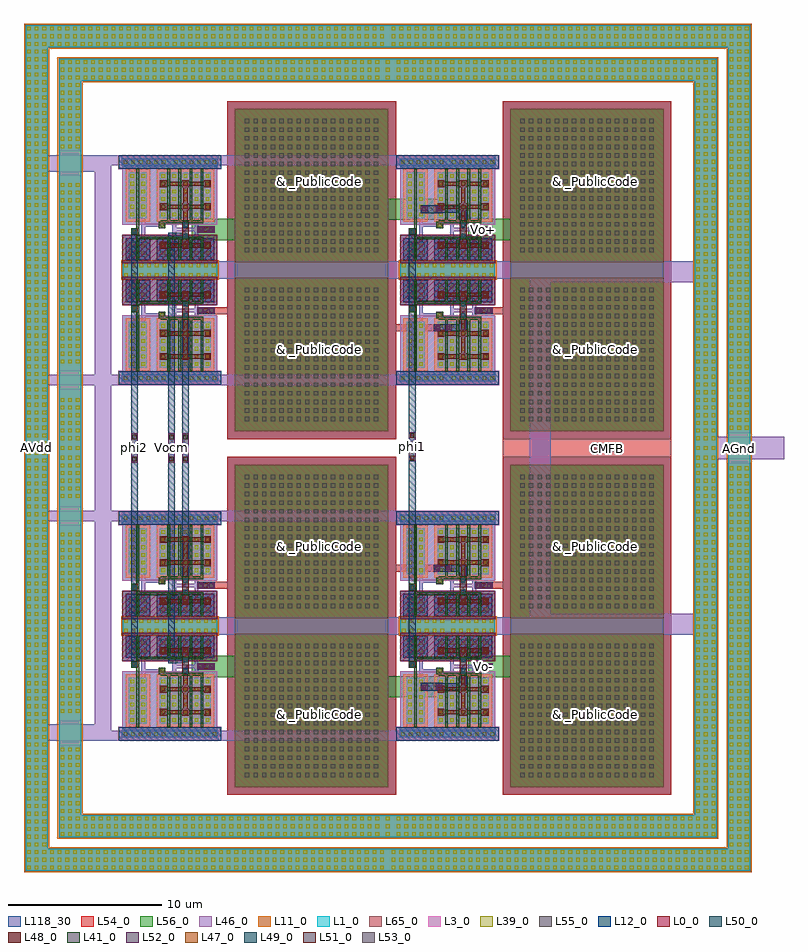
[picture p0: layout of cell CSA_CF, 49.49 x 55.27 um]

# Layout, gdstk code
import gdstk
lib = gdstk.Library(unit=1e-6, precision=1e-09)
def R(c, l, rs):  # rectangles x0, y0, x1, y1
    for r in rs: c.add(gdstk.rectangle(r[:2], r[2:], *l))
def A(c, l, x, y, w, h, nx, ny, dx, dy):  # array of equal rectangles
    R(c, l, [(x+i*dx, y+j*dy, x+i*dx+w, y+j*dy+h) for i in range(nx) for j in range(ny)])
def P(c, l, *ps):  # polygons
    for p in ps: c.add(gdstk.Polygon(p, *l))
L0_0 = (0, 0)
L1_0 = (1, 0)
L3_0 = (3, 0)
L11_0 = (11, 0)
L12_0 = (12, 0)
L39_0 = (39, 0)
L41_0 = (41, 0)
L46_0 = (46, 0)
L47_0 = (47, 0)
L48_0 = (48, 0)
L49_0 = (49, 0)
L50_0 = (50, 0)
L51_0 = (51, 0)
L52_0 = (52, 0)
L53_0 = (53, 0)
L54_0 = (54, 0)
L55_0 = (55, 0)
L56_0 = (56, 0)
L65_0 = (65, 0)
L118_30 = (118, 30)

m1m2 = lib.new_cell('M1M2')
R(m1m2, L46_0, [(-0.22,-0.22,0.22,0.22)])
R(m1m2, L47_0, [(-0.14,-0.14,0.14,0.14)])
R(m1m2, L48_0, [(-0.22,-0.22,0.22,0.22)])

mpoly = lib.new_cell('MPOLY')
R(mpoly, L39_0, [(-0.12,-0.12,0.12,0.12)])
R(mpoly, L41_0, [(-0.22,-0.22,0.22,0.22)])
R(mpoly, L46_0, [(-0.2,-0.2,0.2,0.2)])

m2m3 = lib.new_cell('M2M3')
R(m2m3, L48_0, [(-0.22,-0.22,0.22,0.22)])
R(m2m3, L49_0, [(-0.14,-0.14,0.14,0.14)])
R(m2m3, L50_0, [(-0.22,-0.22,0.22,0.22)])

switch_x4 = lib.new_cell('switch_X4')
R(switch_x4, L0_0, [(-0.46,-1.87,1.56,-0.01), (1.56,-1.87,5.74,-0.01)])
R(switch_x4, L1_0, [(-0.44,-2.2,5.72,-1.76), (-0.03,-1.44,1.13,-0.44), (-0.03,-1.44,0.46,-0.44), (0.64,-1.44,1.13,-0.44), (1.99,-1.44,2.48,-0.44), (1.99,-1.44,5.31,-0.44), (4.82,-1.44,5.31,-0.44), (-0.03,1.07,0.46,4.07), (-0.03,1.07,1.13,4.07), (0.64,1.07,1.13,4.07), (1.99,1.07,5.31,4.07), (1.99,1.07,2.48,4.07), (4.82,1.07,5.31,4.07), (-0.48,4.51,5.76,4.95)])
R(switch_x4, L3_0, [(-0.46,0.64,1.56,4.5), (1.56,0.64,5.74,4.5), (-0.72,4.27,6,5.19)])
R(switch_x4, L11_0, [(-0.54,-2.3,5.82,-1.66), (-0.25,0.85,1.35,4.29), (1.77,0.85,5.53,4.29)])
R(switch_x4, L12_0, [(-0.25,-1.66,1.35,-0.22), (1.77,-1.66,5.53,-0.22), (-0.7,4.29,5.98,5.17)])
A(switch_x4, L39_0, -0.34, -2.1, 0.24, 0.24, 6, 1, 0.5, 0)
A(switch_x4, L39_0, 2.88, -2.1, 0.24, 0.24, 6, 1, 0.5, 0)
A(switch_x4, L39_0, 2.09, -1.31, 0.24, 0.24, 5, 2, 0.72, 0.5)
A(switch_x4, L39_0, 0.07, 1.2, 0.24, 0.24, 1, 6, 0, 0.5)
A(switch_x4, L39_0, 0.79, 1.2, 0.24, 0.24, 1, 6, 0, 0.5)
A(switch_x4, L39_0, 2.09, 1.2, 0.24, 0.24, 5, 6, 0.72, 0.5)
A(switch_x4, L39_0, -0.38, 4.61, 0.24, 0.24, 6, 1, 0.5, 0)
A(switch_x4, L39_0, 2.92, 4.61, 0.24, 0.24, 6, 1, 0.5, 0)
R(switch_x4, L39_0, [(0.07,-1.31,0.31,-1.07), (0.79,-1.31,1.03,-1.07), (0.07,-0.81,0.31,-0.57), (0.79,-0.81,1.03,-0.57)])
A(switch_x4, L41_0, 2.48, -1.66, 0.18, 0.22, 4, 2, 0.72, 1.22)
A(switch_x4, L41_0, 2.48, -1.44, 0.18, 1, 4, 1, 0.72, 0)
A(switch_x4, L41_0, 2.48, 0.85, 0.18, 0.22, 4, 2, 0.72, 3.22)
A(switch_x4, L41_0, 2.48, 1.07, 0.18, 3, 4, 1, 0.72, 0)
R(switch_x4, L41_0, [(0.46,-1.66,0.64,-1.44), (0.46,-1.44,0.64,-0.44), (0.46,-0.44,0.64,-0.22), (0.46,-0.4,0.64,-0.12), (0.46,-0.3,2.66,-0.12), (0.46,-0.3,0.64,1.03), (0.46,0.85,0.64,1.07), (0.46,1.07,0.64,4.07), (0.46,4.07,0.64,4.29)])
P(switch_x4, L41_0, [(3.92,-0.3),(4.64,-0.3),(4.64,-0.4),(4.82,-0.4),(4.82,-0.12),(3.92,-0.12)],
  [(2.48,0.75),(3.38,0.75),(3.38,1.03),(3.2,1.03),(3.2,0.93),(2.66,0.93),(2.66,1.03),(2.48,1.03)],
  [(3.2,0.75),(4.1,0.75),(4.1,1.03),(3.92,1.03),(3.92,0.93),(3.2,0.93)],
  [(3.92,0.75),(4.82,0.75),(4.82,1.03),(4.64,1.03),(4.64,0.93),(3.92,0.93)],
  [(2.48,-0.4),(2.66,-0.4),(2.66,-0.3),(3.2,-0.3),(3.2,-0.4),(3.38,-0.4),(3.38,-0.12),(2.48,-0.12)],
  [(3.2,-0.3),(3.92,-0.3),(3.92,-0.4),(4.1,-0.4),(4.1,-0.12),(3.2,-0.12)],
  [(2.03,0.54),(2.24,0.54),(2.24,0.75),(2.66,0.75),(2.66,0.93),(2.06,0.93),(2.06,0.72),(2.03,0.72)])
A(switch_x4, L46_0, 2.01, -1.39, 0.4, 0.9, 5, 1, 0.72, 0)
A(switch_x4, L46_0, 2.01, 1.12, 0.4, 2.9, 5, 1, 0.72, 0)
R(switch_x4, L46_0, [(-0.46,-2.3,5.74,-1.74), (-0.46,-2.22,5.74,-1.74), (-0.01,-2.14,0.39,-0.99), (-0.01,-1.39,0.39,-0.49), (0.71,-1.39,1.11,-0.49), (0.79,-0.73,1.03,0.75), (2.81,-0.73,3.05,0.46), (4.25,-0.73,4.49,0.46), (2.81,0.22,3.05,1.36), (2.81,0.22,4.49,0.46), (4.25,0.22,4.75,0.46), (4.25,0.22,4.49,1.36), (0.79,0.51,2.24,0.75), (0.79,0.51,1.03,1.36), (-0.01,1.12,0.39,4.02), (0.71,1.12,1.11,4.02), (-0.01,3.62,0.39,4.93), (-0.46,4.53,5.74,4.93), (-0.46,4.53,5.74,5.19)])
R(switch_x4, L48_0, [(2.07,-0.83,3.79,-0.55), (3.51,-0.83,5.23,-0.55), (3.51,-0.83,3.79,1.96), (3.43,-0.47,3.51,-0.3), (3.79,-0.47,3.87,-0.3), (3.43,0.14,3.87,0.42), (4.49,0.2,5.49,0.48), (2.07,1.68,3.79,1.96), (3.51,1.68,5.23,1.96), (3.51,1.68,3.79,3.46), (2.07,3.18,3.79,3.46), (3.51,3.18,5.23,3.46)])
R(switch_x4, L50_0, [(3.43,-0.3,3.87,0.86), (0.11,-0.01,0.55,0.43), (4.41,0.12,5.57,0.56)])
R(switch_x4, L118_30, [(-0.46,-1.87,1.56,-0.01), (1.56,-1.87,5.74,-0.01), (-0.46,0.64,1.56,4.5), (1.56,0.64,5.74,4.5)])
switch_x4.add(gdstk.Reference(m1m2, (3.65,1.82)))
switch_x4.add(gdstk.Reference(m1m2, (2.21,1.82)))
switch_x4.add(gdstk.Reference(m1m2, (5.09,1.82)))
switch_x4.add(gdstk.Reference(m1m2, (3.65,3.32)))
switch_x4.add(gdstk.Reference(mpoly, (2.12,0.63)))
switch_x4.add(gdstk.Reference(m1m2, (2.21,-0.69)))
switch_x4.add(gdstk.Reference(m1m2, (3.65,-0.69)))
switch_x4.add(gdstk.Reference(m1m2, (5.09,-0.69)))
switch_x4.add(gdstk.Reference(m1m2, (2.21,3.32)))
switch_x4.add(gdstk.Reference(m1m2, (5.09,3.32)))
switch_x4.add(gdstk.Reference(mpoly, (0.33,0.21)))
switch_x4.add(gdstk.Reference(m2m3, (0.33,0.21)))
switch_x4.add(gdstk.Reference(m1m2, (0.33,0.21)))
switch_x4.add(gdstk.Reference(m2m3, (3.65,0.64)))
switch_x4.add(gdstk.Reference(m2m3, (3.65,-0.08)))
switch_x4.add(gdstk.Reference(m1m2, (4.63,0.34)))
switch_x4.add(gdstk.Reference(m2m3, (4.63,0.34)))
switch_x4.add(gdstk.Reference(m2m3, (5.35,0.34)))
switch_x4.add(gdstk.Label('/M12', (2.57,2.57), layer=85, texttype=0))
switch_x4.add(gdstk.Label('/M12', (3.29,2.57), layer=85, texttype=0))
switch_x4.add(gdstk.Label('/M12', (4.01,2.57), layer=85, texttype=0))
switch_x4.add(gdstk.Label('/M12', (4.73,2.57), layer=85, texttype=0))
switch_x4.add(gdstk.Label('& Vendor Mentor', (1.99,1.07), layer=63, texttype=63))
switch_x4.add(gdstk.Label('& Product UMC180FDKMFM', (1.99,1.07), layer=63, texttype=63))
switch_x4.add(gdstk.Label('& Version A01', (1.99,1.07), layer=63, texttype=63))
switch_x4.add(gdstk.Label('& Metric 0', (1.99,1.07), layer=63, texttype=63))
switch_x4.add(gdstk.Label('& _PublicCode', (1.99,1.07), layer=63, texttype=63))
switch_x4.add(gdstk.Label('/M2', (0.55,2.57), layer=85, texttype=0))
switch_x4.add(gdstk.Label('& Vendor Mentor', (-0.03,1.07), layer=63, texttype=63))
switch_x4.add(gdstk.Label('& Product UMC180FDKMFM', (-0.03,1.07), layer=63, texttype=63))
switch_x4.add(gdstk.Label('& Version A01', (-0.03,1.07), layer=63, texttype=63))
switch_x4.add(gdstk.Label('& Metric 0', (-0.03,1.07), layer=63, texttype=63))
switch_x4.add(gdstk.Label('& _PublicCode', (-0.03,1.07), layer=63, texttype=63))
switch_x4.add(gdstk.Label('& _PublicCode', (-0.03,-1.44), layer=63, texttype=63))
switch_x4.add(gdstk.Label('/M1', (0.55,-0.94), layer=85, texttype=0))
switch_x4.add(gdstk.Label('& Vendor Mentor', (-0.03,-1.44), layer=63, texttype=63))
switch_x4.add(gdstk.Label('& Product UMC180FDKMFM', (-0.03,-1.44), layer=63, texttype=63))
switch_x4.add(gdstk.Label('& Version A01', (-0.03,-1.44), layer=63, texttype=63))
switch_x4.add(gdstk.Label('& Metric 0', (-0.03,-1.44), layer=63, texttype=63))
switch_x4.add(gdstk.Label('/M11', (2.57,-0.94), layer=85, texttype=0))
switch_x4.add(gdstk.Label('/M11', (3.29,-0.94), layer=85, texttype=0))
switch_x4.add(gdstk.Label('/M11', (4.01,-0.94), layer=85, texttype=0))
switch_x4.add(gdstk.Label('/M11', (4.73,-0.94), layer=85, texttype=0))
switch_x4.add(gdstk.Label('& Vendor Mentor', (1.99,-1.44), layer=63, texttype=63))
switch_x4.add(gdstk.Label('& Product UMC180FDKMFM', (1.99,-1.44), layer=63, texttype=63))
switch_x4.add(gdstk.Label('& Version A01', (1.99,-1.44), layer=63, texttype=63))
switch_x4.add(gdstk.Label('& Metric 0', (1.99,-1.44), layer=63, texttype=63))
switch_x4.add(gdstk.Label('& _PublicCode', (1.99,-1.44), layer=63, texttype=63))
switch_x4.add(gdstk.Label('VSS', (2.64,-2.02), layer=101, texttype=0))
switch_x4.add(gdstk.Label('VDD', (2.64,4.86), layer=101, texttype=0))
switch_x4.add(gdstk.Label('e', (0.33,0.21), layer=103, texttype=0))
switch_x4.add(gdstk.Label('out', (4.99,0.34), layer=103, texttype=0))
switch_x4.add(gdstk.Label('in', (3.65,0.28), layer=103, texttype=0))

m3m4 = lib.new_cell('M3M4')
R(m3m4, L50_0, [(-0.22,-0.22,0.22,0.22)])
R(m3m4, L51_0, [(-0.14,-0.14,0.14,0.14)])
R(m3m4, L52_0, [(-0.22,-0.22,0.22,0.22)])

m4m5 = lib.new_cell('M4M5')
R(m4m5, L52_0, [(-0.22,-0.22,0.22,0.22)])
R(m4m5, L53_0, [(-0.14,-0.14,0.14,0.14)])
R(m4m5, L54_0, [(-0.22,-0.22,0.22,0.22)])

m5m6 = lib.new_cell('M5M6')
R(m5m6, L54_0, [(-0.22,-0.22,0.22,0.22)])
R(m5m6, L55_0, [(-0.14,-0.14,0.14,0.14)])
R(m5m6, L56_0, [(-0.26,-0.26,0.26,0.26)])

csa_cf = lib.new_cell('CSA_CF')
R(csa_cf, L1_0, [(-5.32,1.47,0.84,1.67), (12.77,1.47,18.93,1.67), (-5.32,24.64,0.84,24.84), (12.77,24.64,18.93,24.84)])
P(csa_cf, L1_0, [(33.37,-12.2),(33.37,37.07),(31.93,37.07),(31.93,-10.76),(-8.02,-10.76),(-8.02,37.07),(33.37,37.07),(33.37,38.51),(-9.46,38.51),(-9.46,-12.2)],
  [(35.55,-14.38),(35.55,39.25),(34.11,39.25),(34.11,-12.94),(-10.2,-12.94),(-10.2,39.25),(35.55,39.25),(35.55,40.69),(-11.64,40.69),(-11.64,-14.38)])
P(csa_cf, L11_0, [(33.47,-12.3),(33.47,36.97),(31.83,36.97),(31.83,-10.66),(-7.92,-10.66),(-7.92,36.97),(33.47,36.97),(33.47,38.61),(-9.56,38.61),(-9.56,-12.3)],
  [(35.65,-14.48),(35.65,39.15),(34.01,39.15),(34.01,-12.84),(-10.1,-12.84),(-10.1,39.15),(35.65,39.15),(35.65,40.79),(-11.74,40.79),(-11.74,-14.48)])
A(csa_cf, L39_0, -11.54, -14.28, 0.24, 0.24, 47, 3, 0.5, 0.5)
A(csa_cf, L39_0, 12.21, -14.28, 0.24, 0.24, 47, 3, 0.5, 0.5)
A(csa_cf, L39_0, -11.54, -12.78, 0.24, 0.24, 3, 52, 0.5, 0.5)
A(csa_cf, L39_0, 34.21, -12.78, 0.24, 0.24, 3, 50, 0.5, 0.5)
A(csa_cf, L39_0, -9.36, -12.1, 0.24, 0.24, 42, 3, 0.5, 0.5)
A(csa_cf, L39_0, 11.83, -12.1, 0.24, 0.24, 1, 3, 0, 0.5)
A(csa_cf, L39_0, 12.53, -12.1, 0.24, 0.24, 42, 3, 0.5, 0.5)
A(csa_cf, L39_0, -9.36, -10.6, 0.24, 0.24, 3, 9, 0.5, 0.5)
A(csa_cf, L39_0, 32.03, -10.6, 0.24, 0.24, 3, 47, 0.5, 0.5)
A(csa_cf, L39_0, -9.36, -4.1, 0.24, 0.24, 3, 24, 0.5, 0.5)
A(csa_cf, L39_0, -9.36, 9.9, 0.24, 0.24, 3, 6, 0.5, 0.5)
A(csa_cf, L39_0, -9.36, 13.03, 0.24, 0.24, 3, 2, 0.5, 0.64)
A(csa_cf, L39_0, 32.03, 13.03, 0.24, 0.24, 3, 2, 0.5, 0.64)
A(csa_cf, L39_0, -11.54, 13.35, 0.24, 0.24, 3, 52, 0.5, 0.5)
A(csa_cf, L39_0, -9.36, 14.17, 0.24, 0.24, 3, 5, 0.5, 0.5)
A(csa_cf, L39_0, 32.03, 14.17, 0.24, 0.24, 3, 46, 0.5, 0.5)
A(csa_cf, L39_0, 34.21, 14.35, 0.24, 0.24, 3, 50, 0.5, 0.5)
A(csa_cf, L39_0, -9.36, 18.67, 0.24, 0.24, 3, 24, 0.5, 0.5)
A(csa_cf, L39_0, -9.36, 32.67, 0.24, 0.24, 3, 9, 0.5, 0.5)
A(csa_cf, L39_0, -9.36, 37.17, 0.24, 0.24, 42, 3, 0.5, 0.5)
A(csa_cf, L39_0, 11.83, 37.17, 0.24, 0.24, 1, 3, 0, 0.5)
A(csa_cf, L39_0, 12.53, 37.17, 0.24, 0.24, 42, 3, 0.5, 0.5)
A(csa_cf, L39_0, -11.54, 39.35, 0.24, 0.24, 47, 3, 0.5, 0.5)
A(csa_cf, L39_0, 12.21, 39.35, 0.24, 0.24, 47, 3, 0.5, 0.5)
R(csa_cf, L46_0, [(-11.66,-14.4,-10.18,40.71), (-11.35,-5.92,-6.06,-4.84), (0.86,-5.92,12.75,-5.26), (-9.48,-4.6,-8,8.16), (-5.34,1.01,18.95,2.13), (0.86,1.01,12.75,2.13), (21.2,1.01,33.27,2.37), (-10.92,8.4,-6.47,9.06), (-6.72,8.4,-4.68,9.06), (0.86,8.4,12.75,9.06), (-9.48,9.3,-8,17.01), (31.91,12.41,37.75,13.89), (-10.84,17.25,-6.47,17.91), (-6.72,17.25,-4.68,17.91), (0.86,17.25,12.75,17.91), (-9.48,18.15,-8,30.91), (21.2,23.94,33.22,25.3), (-5.34,24.18,18.95,25.3), (0.86,24.18,12.75,25.3), (-11.26,31.15,-6.06,32.23), (0.86,31.57,12.75,32.23)])
P(csa_cf, L46_0, [(33.39,-12.22),(33.39,38.53),(-9.48,38.53),(-9.48,32.47),(-8,32.47),(-8,37.05),(31.91,37.05),(31.91,-10.74),(-8,-10.74),(-8,-6.16),(-9.48,-6.16),(-9.48,-12.22)],
  [(35.57,-14.4),(35.57,12.17),(34.09,12.17),(34.09,-12.92),(-10.18,-12.92),(-10.18,39.23),(34.09,39.23),(34.09,14.13),(35.57,14.13),(35.57,40.71),(-11.66,40.71),(-11.66,-14.4)],
  [(18.39,1.01),(22.56,1.01),(22.56,25.3),(18.39,25.3),(18.39,24.18),(21.2,24.18),(21.2,2.13),(18.39,2.13)],
  [(-7.13,-5.92),(-4.68,-5.92),(-4.68,-5.26),(-6.06,-5.26),(-6.06,31.57),(-4.68,31.57),(-4.68,32.23),(-7.13,32.23)])
R(csa_cf, L50_0, [(14.1,-2.66,15.5,-2.14), (-4.77,-1.16,-4.33,4.3), (13.32,-1.16,13.76,4.3), (-4.77,3.86,-4.33,27.47), (13.32,3.86,13.76,27.47), (-1.45,4.29,-1.01,22.02), (14.93,5.1,16.11,5.54), (14.93,20.77,16.11,21.21), (14.1,28.45,15.5,28.97)])
P(csa_cf, L50_0, [(-2.36,-0.87),(-1.01,-0.87),(-1.01,-0.43),(-1.92,-0.43),(-1.92,26.74),(-1.01,26.74),(-1.01,27.18),(-2.36,27.18)],
  [(15.06,28.49),(16.64,28.49),(16.64,27.46),(17.08,27.46),(17.08,28.93),(15.06,28.93)],
  [(15.67,20.77),(17.08,20.77),(17.08,22.02),(16.64,22.02),(16.64,21.21),(15.67,21.21)],
  [(15.06,-2.62),(17.08,-2.62),(17.08,-1.15),(16.64,-1.15),(16.64,-2.18),(15.06,-2.18)],
  [(15.67,5.1),(16.64,5.1),(16.64,4.29),(17.08,4.29),(17.08,5.54),(15.67,5.54)])
R(csa_cf, L52_0, [(-0.47,-1.29,0.69,-0.85), (17.62,-1.29,18.78,-0.85), (-0.47,3.99,0.69,4.43), (17.62,3.99,18.78,4.43), (-4.77,12.21,-4.33,14.1), (-2.36,12.21,-1.92,14.1), (-1.45,12.21,-1.01,14.1), (13.32,12.29,13.76,14.18), (25.29,12.93,27.17,13.37), (-0.47,21.88,0.69,22.32), (17.62,21.88,18.78,22.32), (-0.47,27.16,0.69,27.6), (17.62,27.16,18.78,27.6)])
R(csa_cf, L54_0, [(1.49,-9.43,12.49,1.57), (1.49,-9.43,12.49,1.57), (19.42,-9.43,30.42,1.57), (19.42,-9.43,30.42,1.57), (-0.47,-1.29,0.69,-0.85), (17.62,-1.29,18.78,-0.85), (1.49,1.57,12.49,12.57), (1.49,1.57,12.49,12.57), (19.42,1.57,30.42,12.57), (19.42,1.57,30.42,12.57), (-0.47,3.99,0.69,4.43), (0.25,3.99,1.93,4.43), (17.62,3.99,18.78,4.43), (18.34,3.99,19.86,4.43), (12.05,5.1,15.37,5.54), (14.93,5.1,16.11,5.54), (19.42,12.57,30.42,13.74), (1.49,13.74,12.49,24.74), (1.49,13.74,12.49,24.74), (19.42,13.74,30.42,24.74), (19.42,13.74,30.42,24.74), (12.05,20.77,15.37,21.21), (14.93,20.77,16.11,21.21), (-0.47,21.88,0.69,22.32), (0.25,21.88,1.93,22.32), (17.62,21.88,18.78,22.32), (18.34,21.88,19.86,22.32), (1.49,24.74,12.49,35.74), (1.49,24.74,12.49,35.74), (19.42,24.74,30.42,35.74), (19.42,24.74,30.42,35.74), (-0.47,27.16,0.69,27.6), (17.62,27.16,18.78,27.6)])
A(csa_cf, L55_0, 2.65, -8.27, 0.28, 0.28, 16, 16, 0.56, 0.56)
A(csa_cf, L55_0, 20.58, -8.27, 0.28, 0.28, 16, 16, 0.56, 0.56)
A(csa_cf, L55_0, 2.65, 2.73, 0.28, 0.28, 16, 16, 0.56, 0.56)
A(csa_cf, L55_0, 20.58, 2.73, 0.28, 0.28, 16, 16, 0.56, 0.56)
A(csa_cf, L55_0, 2.65, 14.9, 0.28, 0.28, 16, 16, 0.56, 0.56)
A(csa_cf, L55_0, 20.58, 14.9, 0.28, 0.28, 16, 16, 0.56, 0.56)
A(csa_cf, L55_0, 2.65, 25.9, 0.28, 0.28, 16, 16, 0.56, 0.56)
A(csa_cf, L55_0, 20.58, 25.9, 0.28, 0.28, 16, 16, 0.56, 0.56)
R(csa_cf, L56_0, [(1.99,-8.93,11.99,1.07), (19.92,-8.93,29.92,1.07), (2.49,-8.43,11.49,0.57), (20.42,-8.43,29.42,0.57), (11.95,-3.09,15.96,-1.7), (-0.83,-1.77,2.12,-0.38), (17.19,-1.76,20.14,-0.37), (1.99,1.07,11.99,2.07), (19.92,1.07,29.92,2.07), (1.99,2.07,11.99,12.07), (19.92,2.07,29.92,12.07), (2.49,2.57,11.49,11.57), (20.42,2.57,29.42,11.57), (1.99,14.24,11.99,24.24), (19.92,14.24,29.92,24.24), (2.49,14.74,11.49,23.74), (20.42,14.74,29.42,23.74), (1.99,24.24,11.99,25.24), (19.92,24.24,29.92,25.24), (1.99,25.24,11.99,35.24), (19.92,25.24,29.92,35.24), (2.49,25.74,11.49,34.74), (20.42,25.74,29.42,34.74), (17.19,26.68,20.14,28.07), (-0.83,26.69,2.12,28.08), (11.95,28.01,15.96,29.4)])
R(csa_cf, L65_0, [(1.99,-8.93,11.99,1.07), (19.92,-8.93,29.92,1.07), (1.99,2.07,11.99,12.07), (19.92,2.07,29.92,12.07), (1.99,14.24,11.99,24.24), (19.92,14.24,29.92,24.24), (1.99,25.24,11.99,35.24), (19.92,25.24,29.92,35.24)])
R(csa_cf, L118_30, [(1.49,-9.43,12.49,1.57), (1.49,-9.43,12.49,1.57), (19.42,-9.43,30.42,1.57), (19.42,-9.43,30.42,1.57), (1.49,1.57,12.49,12.57), (1.49,1.57,12.49,12.57), (19.42,1.57,30.42,12.57), (19.42,1.57,30.42,12.57), (1.49,13.74,12.49,24.74), (1.49,13.74,12.49,24.74), (19.42,13.74,30.42,24.74), (19.42,13.74,30.42,24.74), (1.49,24.74,12.49,35.74), (1.49,24.74,12.49,35.74), (19.42,24.74,30.42,35.74), (19.42,24.74,30.42,35.74)])
csa_cf.add(gdstk.Reference(switch_x4, (13.21,-0.73), x_reflection=True))
csa_cf.add(gdstk.Reference(switch_x4, (-4.88,3.87)))
csa_cf.add(gdstk.Reference(switch_x4, (-4.88,-0.73), x_reflection=True))
csa_cf.add(gdstk.Reference(switch_x4, (13.21,3.87)))
csa_cf.add(gdstk.Reference(switch_x4, (13.21,22.44), x_reflection=True))
csa_cf.add(gdstk.Reference(switch_x4, (13.21,27.04)))
csa_cf.add(gdstk.Reference(switch_x4, (-4.88,22.44), x_reflection=True))
csa_cf.add(gdstk.Reference(switch_x4, (-4.88,27.04)))
csa_cf.add(gdstk.Reference(m3m4, (13.54,13.24)))
csa_cf.add(gdstk.Reference(m3m4, (13.54,13.96)))
csa_cf.add(gdstk.Reference(m3m4, (13.54,12.51)))
csa_cf.add(gdstk.Reference(m3m4, (-4.55,12.43)))
csa_cf.add(gdstk.Reference(m3m4, (-4.55,13.16)))
csa_cf.add(gdstk.Reference(m3m4, (-4.55,13.88)))
csa_cf.add(gdstk.Reference(m4m5, (25.51,13.15)))
csa_cf.add(gdstk.Reference(m4m5, (26.23,13.15)))
csa_cf.add(gdstk.Reference(m4m5, (26.95,13.15)))
csa_cf.add(gdstk.Reference(m3m4, (-1.23,12.43)))
csa_cf.add(gdstk.Reference(m3m4, (-1.23,13.16)))
csa_cf.add(gdstk.Reference(m3m4, (-1.23,13.88)))
csa_cf.add(gdstk.Reference(m3m4, (-2.14,12.43)))
csa_cf.add(gdstk.Reference(m3m4, (-2.14,13.16)))
csa_cf.add(gdstk.Reference(m3m4, (-2.14,13.88)))
csa_cf.add(gdstk.Reference(m5m6, (-0.25,-1.07), x_reflection=True))
csa_cf.add(gdstk.Reference(m5m6, (14.32,-2.4), x_reflection=True))
csa_cf.add(gdstk.Reference(m3m4, (15.89,5.32), x_reflection=True))
csa_cf.add(gdstk.Reference(m4m5, (-0.25,4.21), x_reflection=True))
csa_cf.add(gdstk.Reference(m3m4, (15.15,5.32), x_reflection=True))
csa_cf.add(gdstk.Reference(m4m5, (15.15,5.32), x_reflection=True))
csa_cf.add(gdstk.Reference(m3m4, (17.84,4.21), x_reflection=True))
csa_cf.add(gdstk.Reference(m5m6, (17.84,-1.07), x_reflection=True))
csa_cf.add(gdstk.Reference(m4m5, (17.84,4.21), x_reflection=True))
csa_cf.add(gdstk.Reference(m3m4, (-0.25,-1.07), x_reflection=True))
csa_cf.add(gdstk.Reference(m3m4, (0.47,-1.07), x_reflection=True))
csa_cf.add(gdstk.Reference(m4m5, (-0.25,-1.07), x_reflection=True))
csa_cf.add(gdstk.Reference(m4m5, (0.47,-1.07), x_reflection=True))
csa_cf.add(gdstk.Reference(m5m6, (0.47,-1.07), x_reflection=True))
csa_cf.add(gdstk.Reference(m4m5, (15.89,5.32), x_reflection=True))
csa_cf.add(gdstk.Reference(m3m4, (-0.25,4.21), x_reflection=True))
csa_cf.add(gdstk.Reference(m3m4, (0.47,4.21), x_reflection=True))
csa_cf.add(gdstk.Reference(m3m4, (18.56,4.21), x_reflection=True))
csa_cf.add(gdstk.Reference(m4m5, (0.47,4.21), x_reflection=True))
csa_cf.add(gdstk.Reference(m5m6, (15.28,-2.4), x_reflection=True))
csa_cf.add(gdstk.Reference(m3m4, (15.28,-2.4), x_reflection=True))
csa_cf.add(gdstk.Reference(m4m5, (18.56,4.21), x_reflection=True))
csa_cf.add(gdstk.Reference(m4m5, (15.28,-2.4), x_reflection=True))
csa_cf.add(gdstk.Reference(m3m4, (14.32,-2.4), x_reflection=True))
csa_cf.add(gdstk.Reference(m4m5, (14.32,-2.4), x_reflection=True))
csa_cf.add(gdstk.Reference(m3m4, (18.56,-1.07), x_reflection=True))
csa_cf.add(gdstk.Reference(m4m5, (18.56,-1.07), x_reflection=True))
csa_cf.add(gdstk.Reference(m5m6, (18.56,-1.07), x_reflection=True))
csa_cf.add(gdstk.Reference(m3m4, (17.84,-1.07), x_reflection=True))
csa_cf.add(gdstk.Reference(m4m5, (17.84,-1.07), x_reflection=True))
csa_cf.add(gdstk.Reference(m4m5, (14.32,28.71)))
csa_cf.add(gdstk.Reference(m3m4, (18.56,27.38)))
csa_cf.add(gdstk.Reference(m4m5, (18.56,27.38)))
csa_cf.add(gdstk.Reference(m5m6, (18.56,27.38)))
csa_cf.add(gdstk.Reference(m3m4, (17.84,27.38)))
csa_cf.add(gdstk.Reference(m4m5, (17.84,27.38)))
csa_cf.add(gdstk.Reference(m5m6, (14.32,28.71)))
csa_cf.add(gdstk.Reference(m3m4, (15.89,20.99)))
csa_cf.add(gdstk.Reference(m4m5, (15.89,20.99)))
csa_cf.add(gdstk.Reference(m3m4, (15.15,20.99)))
csa_cf.add(gdstk.Reference(m4m5, (15.15,20.99)))
csa_cf.add(gdstk.Reference(m3m4, (17.84,22.1)))
csa_cf.add(gdstk.Reference(m3m4, (18.56,22.1)))
csa_cf.add(gdstk.Reference(m4m5, (17.84,22.1)))
csa_cf.add(gdstk.Reference(m4m5, (18.56,22.1)))
csa_cf.add(gdstk.Reference(m3m4, (-0.25,27.38)))
csa_cf.add(gdstk.Reference(m3m4, (0.47,27.38)))
csa_cf.add(gdstk.Reference(m4m5, (-0.25,27.38)))
csa_cf.add(gdstk.Reference(m4m5, (0.47,27.38)))
csa_cf.add(gdstk.Reference(m5m6, (0.47,27.38)))
csa_cf.add(gdstk.Reference(m5m6, (-0.25,27.38)))
csa_cf.add(gdstk.Reference(m3m4, (-0.25,22.1)))
csa_cf.add(gdstk.Reference(m3m4, (0.47,22.1)))
csa_cf.add(gdstk.Reference(m4m5, (-0.25,22.1)))
csa_cf.add(gdstk.Reference(m4m5, (0.47,22.1)))
csa_cf.add(gdstk.Reference(m5m6, (15.28,28.71)))
csa_cf.add(gdstk.Reference(m3m4, (15.28,28.71)))
csa_cf.add(gdstk.Reference(m5m6, (17.84,27.38)))
csa_cf.add(gdstk.Reference(m4m5, (15.28,28.71)))
csa_cf.add(gdstk.Reference(m3m4, (14.32,28.71)))
csa_cf.add(gdstk.Label('& _PublicCode', (7.52,19.54), layer=63, texttype=63))
csa_cf.add(gdstk.Label('& Vendor Mentor', (7.52,19.54), layer=63, texttype=63))
csa_cf.add(gdstk.Label('& Product UMC180FDKMFM', (7.52,19.54), layer=63, texttype=63))
csa_cf.add(gdstk.Label('& Version A01', (7.52,19.54), layer=63, texttype=63))
csa_cf.add(gdstk.Label('& Metric 0', (7.52,19.54), layer=63, texttype=63))
csa_cf.add(gdstk.Label('& _PublicCode', (25.45,30.54), layer=63, texttype=63))
csa_cf.add(gdstk.Label('& Vendor Mentor', (25.45,30.54), layer=63, texttype=63))
csa_cf.add(gdstk.Label('& Product UMC180FDKMFM', (25.45,30.54), layer=63, texttype=63))
csa_cf.add(gdstk.Label('& Version A01', (25.45,30.54), layer=63, texttype=63))
csa_cf.add(gdstk.Label('& Metric 0', (25.45,30.54), layer=63, texttype=63))
csa_cf.add(gdstk.Label('& _PublicCode', (25.45,-4.23), layer=63, texttype=63))
csa_cf.add(gdstk.Label('& Vendor Mentor', (25.45,-4.23), layer=63, texttype=63))
csa_cf.add(gdstk.Label('& Product UMC180FDKMFM', (25.45,-4.23), layer=63, texttype=63))
csa_cf.add(gdstk.Label('& Version A01', (25.45,-4.23), layer=63, texttype=63))
csa_cf.add(gdstk.Label('& Metric 0', (25.45,-4.23), layer=63, texttype=63))
csa_cf.add(gdstk.Label('& _PublicCode', (7.52,6.77), layer=63, texttype=63))
csa_cf.add(gdstk.Label('& Vendor Mentor', (7.52,6.77), layer=63, texttype=63))
csa_cf.add(gdstk.Label('& Product UMC180FDKMFM', (7.52,6.77), layer=63, texttype=63))
csa_cf.add(gdstk.Label('& Version A01', (7.52,6.77), layer=63, texttype=63))
csa_cf.add(gdstk.Label('& Metric 0', (7.52,6.77), layer=63, texttype=63))
csa_cf.add(gdstk.Label('& _PublicCode', (7.52,-4.23), layer=63, texttype=63))
csa_cf.add(gdstk.Label('& Vendor Mentor', (7.52,-4.23), layer=63, texttype=63))
csa_cf.add(gdstk.Label('& Product UMC180FDKMFM', (7.52,-4.23), layer=63, texttype=63))
csa_cf.add(gdstk.Label('& Version A01', (7.52,-4.23), layer=63, texttype=63))
csa_cf.add(gdstk.Label('& Metric 0', (7.52,-4.23), layer=63, texttype=63))
csa_cf.add(gdstk.Label('& _PublicCode', (25.45,19.54), layer=63, texttype=63))
csa_cf.add(gdstk.Label('& Vendor Mentor', (25.45,19.54), layer=63, texttype=63))
csa_cf.add(gdstk.Label('& Product UMC180FDKMFM', (25.45,19.54), layer=63, texttype=63))
csa_cf.add(gdstk.Label('& Version A01', (25.45,19.54), layer=63, texttype=63))
csa_cf.add(gdstk.Label('& Metric 0', (25.45,19.54), layer=63, texttype=63))
csa_cf.add(gdstk.Label('& _PublicCode', (25.45,6.77), layer=63, texttype=63))
csa_cf.add(gdstk.Label('& Vendor Mentor', (25.45,6.77), layer=63, texttype=63))
csa_cf.add(gdstk.Label('& Product UMC180FDKMFM', (25.45,6.77), layer=63, texttype=63))
csa_cf.add(gdstk.Label('& Version A01', (25.45,6.77), layer=63, texttype=63))
csa_cf.add(gdstk.Label('& Metric 0', (25.45,6.77), layer=63, texttype=63))
csa_cf.add(gdstk.Label('& _PublicCode', (7.52,30.54), layer=63, texttype=63))
csa_cf.add(gdstk.Label('& Vendor Mentor', (7.52,30.54), layer=63, texttype=63))
csa_cf.add(gdstk.Label('& Product UMC180FDKMFM', (7.52,30.54), layer=63, texttype=63))
csa_cf.add(gdstk.Label('& Version A01', (7.52,30.54), layer=63, texttype=63))
csa_cf.add(gdstk.Label('& Metric 0', (7.52,30.54), layer=63, texttype=63))
csa_cf.add(gdstk.Label('Vo-', (18.2,-1.07), layer=104, texttype=0))
csa_cf.add(gdstk.Label('CMFB', (26.23,13.15), layer=104, texttype=0))
csa_cf.add(gdstk.Label('Vo+', (18.2,27.38), layer=104, texttype=0))
csa_cf.add(gdstk.Label('Vocm', (-2.14,13.155), layer=104, texttype=0))
csa_cf.add(gdstk.Label('Vb1', (-1.23,13.155), layer=104, texttype=0))
csa_cf.add(gdstk.Label('phi1', (13.54,13.235), layer=104, texttype=0))
csa_cf.add(gdstk.Label('phi2', (-4.55,13.155), layer=104, texttype=0))
csa_cf.add(gdstk.Label('AGnd', (34.83,13.15), layer=101, texttype=0))
csa_cf.add(gdstk.Label('AVdd', (-10.92,13.155), layer=101, texttype=0))

lib.write_gds('CSA_CF.gds')
